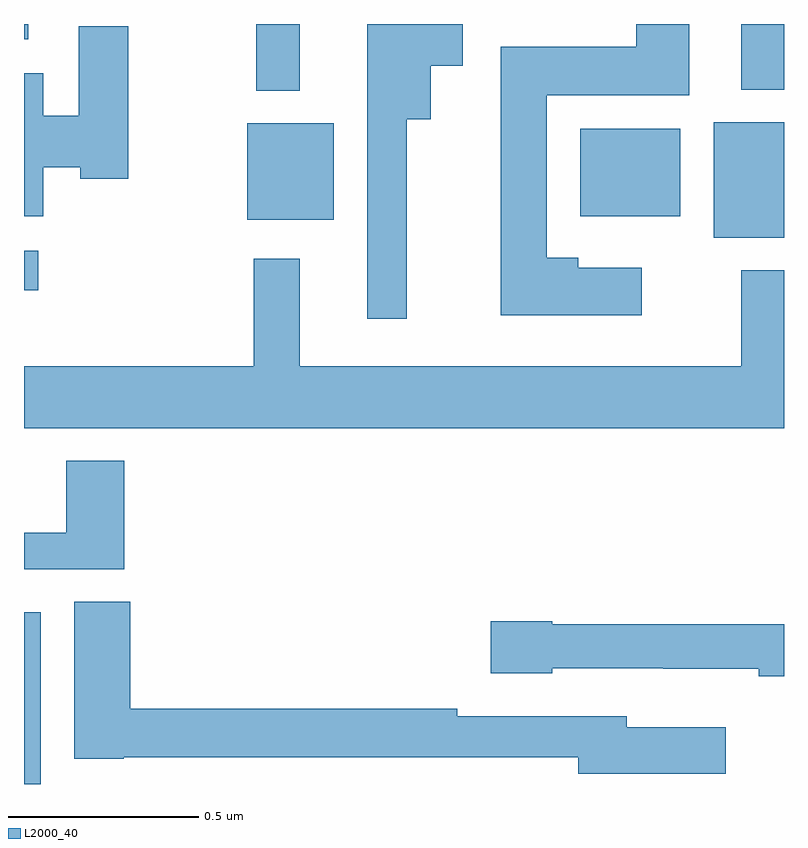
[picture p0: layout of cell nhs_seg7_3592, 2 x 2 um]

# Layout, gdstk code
import gdstk
lib = gdstk.Library(unit=1e-6, precision=1e-09)
def R(c, l, rs):  # rectangles x0, y0, x1, y1
    for r in rs: c.add(gdstk.rectangle(r[:2], r[2:], *l))
def P(c, l, *ps):  # polygons
    for p in ps: c.add(gdstk.Polygon(p, *l))
L2000_40 = (2000, 40)

nhs_seg7_3592 = lib.new_cell('nhs_seg7_3592')
R(nhs_seg7_3592, L2000_40, [(161,1013,161.044,1013.452), (161,1014.299,161.038,1014.403), (162.815,1014.437,163,1014.742), (161.588,1014.485,161.815,1014.739), (162.464,1014.494,162.727,1014.724), (161.611,1014.824,161.725,1015), (162.887,1014.827,163,1015), (161,1014.96,161.011,1015)])
P(nhs_seg7_3592, L2000_40, [(162.625,1014.358),(162.459,1014.358),(162.459,1014.385),(162.376,1014.385),(162.376,1014.812),(162.751,1014.812),(162.751,1015),(162.611,1015),(162.611,1014.94),(162.254,1014.94),(162.254,1014.233),(162.625,1014.233)],
  [(162.007,1014.749),(162.07,1014.749),(162.07,1014.89),(162.154,1014.89),(162.154,1015),(161.903,1015),(161.903,1014.225),(162.007,1014.225)],
  [(161.05,1014.623),(161.148,1014.623),(161.148,1014.593),(161.274,1014.593),(161.274,1014.994),(161.144,1014.994),(161.144,1014.758),(161.05,1014.758),(161.05,1014.871),(161,1014.871),(161,1014.494),(161.05,1014.494)],
  [(163,1014.352),(162.887,1014.352),(162.887,1014.1),(161.725,1014.1),(161.725,1014.382),(161.604,1014.382),(161.604,1014.1),(161,1014.1),(161,1013.936),(163,1013.936)],
  [(161.264,1013.851),(161.111,1013.851),(161.111,1013.661),(161,1013.661),(161,1013.565),(161.264,1013.565)],
  [(162.847,1013.149),(162.586,1013.149),(162.586,1013.178),(162.14,1013.178),(162.14,1013.198),(161.279,1013.198),(161.279,1013.48),(161.132,1013.48),(161.132,1013.066),(161.262,1013.066),(161.262,1013.07),(162.458,1013.07),(162.458,1013.027),(162.847,1013.027)],
  [(163,1013.42),(162.39,1013.42),(162.39,1013.428),(162.228,1013.428),(162.228,1013.291),(162.39,1013.291),(162.39,1013.304),(162.682,1013.304),(162.682,1013.303),(162.934,1013.303),(162.934,1013.284),(163,1013.284)])

lib.write_gds('nhs_seg7_3592.gds')
